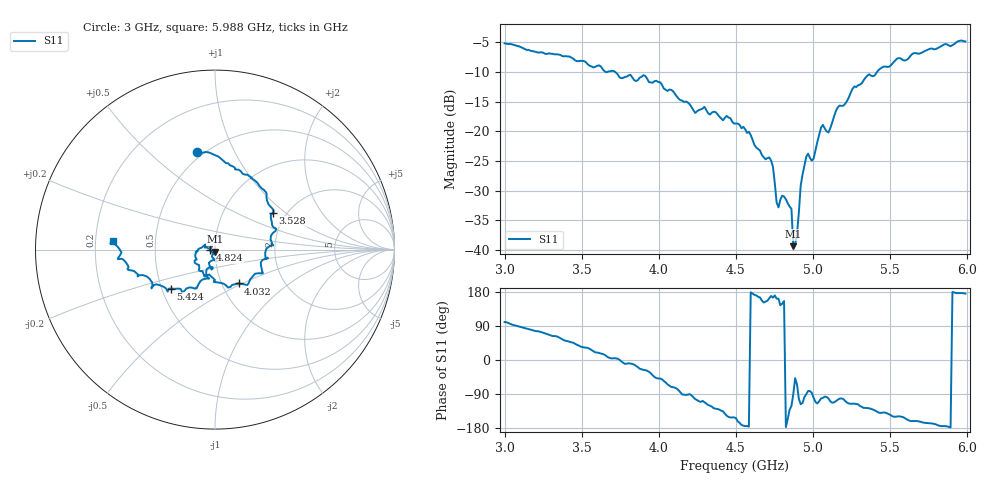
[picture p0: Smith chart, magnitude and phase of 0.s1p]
! Saved from nanovna library
# Hz S RI R 50
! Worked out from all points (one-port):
!   250 points, 3 GHz to 5.988 GHz, reference 50 ohm
!   lowest |S11| = -39.4 dB at 4.872 GHz (marker M1), VSWR 1.02, Z = 50 - j1.07 ohm
!   |S11| at or under -10 dB: 3.656768 GHz to 3.664397 GHz (7.629 MHz wide, 0.208 % of centre); 3.717 GHz to 5.415 GHz (1.697 GHz wide, 37.2 % of centre)
!   S11 on the Smith chart (normalised r, x): 3 GHz: 0.46, +0.72; 3.528 GHz: 1.70, +0.82; 4.032 GHz: 1.20, -0.48; 4.824 GHz: 0.95, -0.00; 5.424 GHz: 0.56, -0.27; 5.988 GHz: 0.27, +0.04
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3e9  -0.0979 0.5437
3.384e9  0.2614 0.3397
3.528e9  0.3218 0.2054
3.756e9  0.2796 -0.0172
3.9e9  0.2671 -0.1306
4.032e9  0.1314 -0.1887
4.128e9  0.0333 -0.1858
4.236e9  -0.0323 -0.1391
4.296e9  -0.0588 -0.1496
4.5e9  -0.1042 -0.0521
4.728e9  -0.0556 0.0108
4.764e9  -0.0238 0.00782
4.776e9  -0.0217 0.00714
4.8e9  -0.0245 0.0149
4.824e9  -0.0267 -0.00142
4.86e9  -0.0115 -0.019
4.872e9  -2.11e-05 -0.0107
4.896e9  0.00585 -0.0123
4.92e9  -0.0157 -0.0311
4.956e9  -0.000319 -0.0608
5.004e9  -0.00991 -0.0581
5.052e9  -0.0217 -0.1053
5.1e9  -0.0194 -0.0958
5.16e9  -0.0411 -0.1536
5.244e9  -0.0905 -0.1905
5.424e9  -0.2451 -0.2173
5.616e9  -0.3789 -0.1503
5.988e9  -0.5707 0.0482
